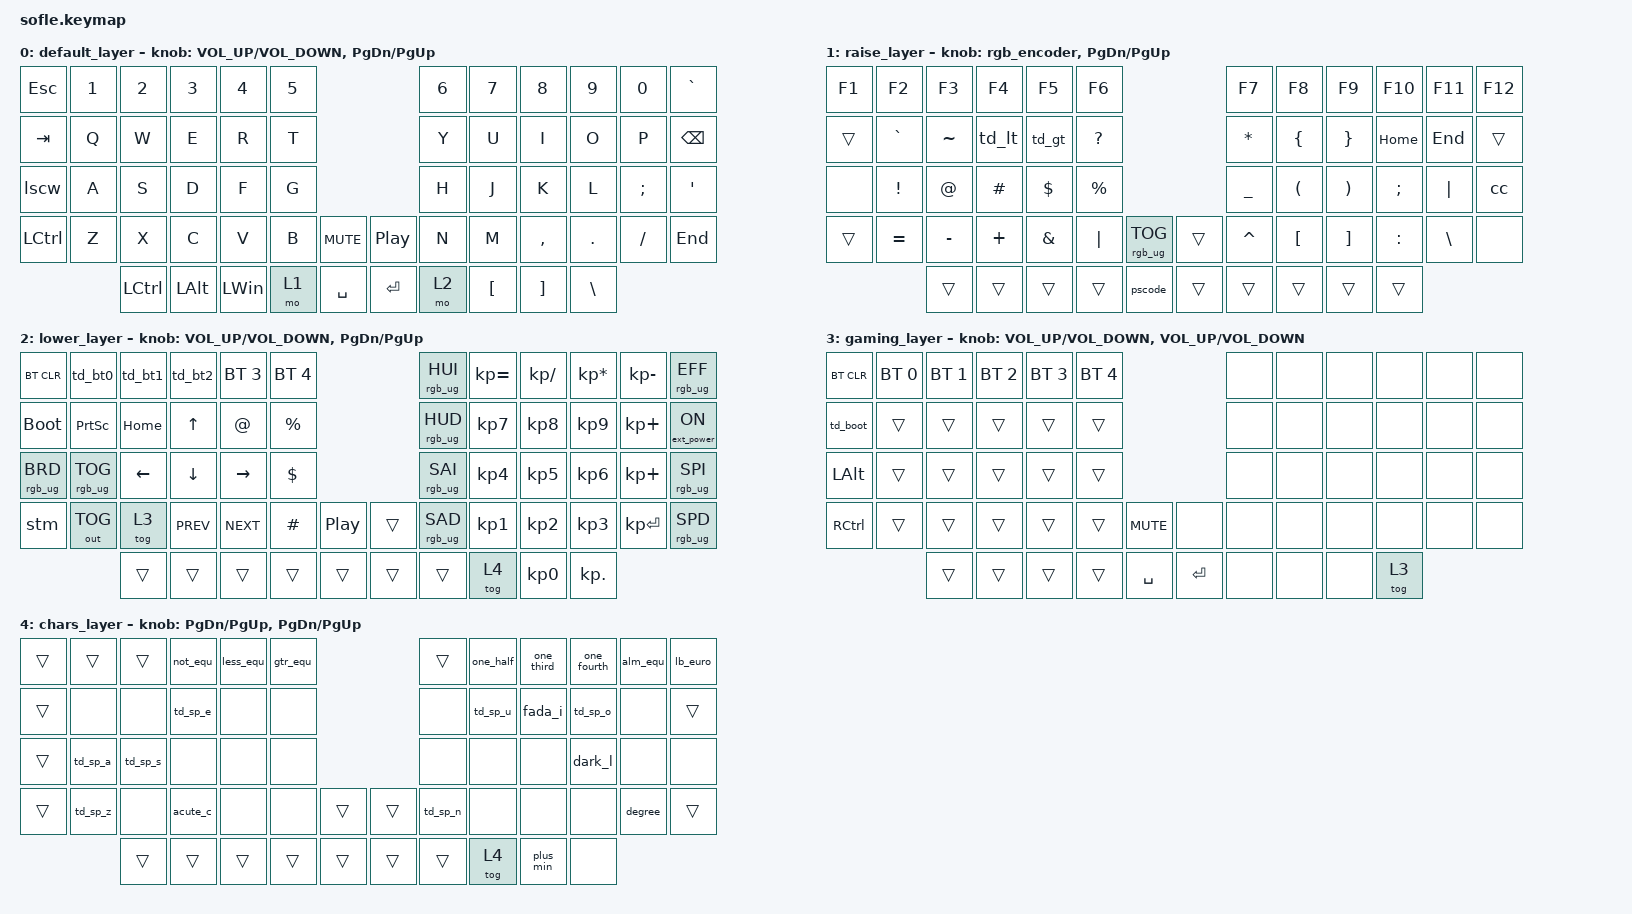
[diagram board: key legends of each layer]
/*
 * Copyright (c) 2020 The ZMK Contributors
 *
 * SPDX-License-Identifier: MIT
 */

#include <behaviors.dtsi>
#include <dt-bindings/zmk/bt.h>
#include <dt-bindings/zmk/keys.h>
#include <dt-bindings/zmk/outputs.h>
#include <dt-bindings/zmk/rgb.h>
#include <dt-bindings/zmk/ext_power.h>

&left_encoder  { resolution = <2>; };
&right_encoder { resolution = <2>; };

/ {
    macros {

        // System

        tm: tm {
            compatible = "zmk,behavior-macro";
            #binding-cells = <0>;
            bindings =
                <&macro_press>,
                <&kp LCTRL &kp LSHFT>,
                <&macro_tap>,
                <&kp ESC>,
                <&macro_release>,
                <&kp LCTRL &kp LSHFT>;
        };

        // Bluetooth profile select + RGB colour feedback

        ubt0: ubt0 {
            compatible = "zmk,behavior-macro";
            #binding-cells = <0>;
            wait-ms = <0>;
            tap-ms = <0>;
            bindings =
                <&macro_tap>,
                <&bt BT_SEL 0>,
                <&macro_tap>,
                <&rgb_ug RGB_COLOR_HSB(240,100,20)>;
        };

        ubt1: ubt1 {
            compatible = "zmk,behavior-macro";
            #binding-cells = <0>;
            wait-ms = <0>;
            tap-ms = <0>;
            bindings =
                <&macro_tap>,
                <&bt BT_SEL 1>,
                <&macro_tap>,
                <&rgb_ug RGB_COLOR_HSB(120,100,20)>;
        };

        ubt2: ubt2 {
            compatible = "zmk,behavior-macro";
            #binding-cells = <0>;
            wait-ms = <0>;
            tap-ms = <0>;
            bindings =
                <&macro_tap>,
                <&bt BT_SEL 2>,
                <&macro_tap>,
                <&rgb_ug RGB_COLOR_HSB(0,100,20)>;
        };

        // Irish fadas (acute accent on vowels) — Windows Alt+numpad codes

        smfada_a: smfada_a {
            compatible = "zmk,behavior-macro";
            #binding-cells = <0>;
            tap-ms = <0>;
            wait-ms = <0>;
            bindings = <&macro_press>, <&kp LALT>,
                       <&macro_tap>, <&kp KP_N0 &kp KP_N2 &kp KP_N2 &kp KP_N5>,
                       <&macro_release>, <&kp LALT>;
        };

        lfada_a: lfada_a {
            compatible = "zmk,behavior-macro";
            #binding-cells = <0>;
            tap-ms = <0>;
            wait-ms = <0>;
            bindings = <&macro_press>, <&kp LALT>,
                       <&macro_tap>, <&kp KP_N0 &kp KP_N1 &kp KP_N9 &kp KP_N3>,
                       <&macro_release>, <&kp LALT>;
        };

        smfada_e: smfada_e {
            compatible = "zmk,behavior-macro";
            #binding-cells = <0>;
            tap-ms = <0>;
            wait-ms = <0>;
            bindings = <&macro_press>, <&kp LALT>,
                       <&macro_tap>, <&kp KP_N0 &kp KP_N2 &kp KP_N3 &kp KP_N3>,
                       <&macro_release>, <&kp LALT>;
        };

        lfada_e: lfada_e {
            compatible = "zmk,behavior-macro";
            #binding-cells = <0>;
            tap-ms = <0>;
            wait-ms = <0>;
            bindings = <&macro_press>, <&kp LALT>,
                       <&macro_tap>, <&kp KP_N0 &kp KP_N2 &kp KP_N0 &kp KP_N1>,
                       <&macro_release>, <&kp LALT>;
        };

        smfada_i: smfada_i {
            compatible = "zmk,behavior-macro";
            #binding-cells = <0>;
            tap-ms = <0>;
            wait-ms = <0>;
            bindings = <&macro_press>, <&kp LALT>,
                       <&macro_tap>, <&kp KP_N0 &kp KP_N2 &kp KP_N3 &kp KP_N7>,
                       <&macro_release>, <&kp LALT>;
        };

        lfada_i: lfada_i {
            compatible = "zmk,behavior-macro";
            #binding-cells = <0>;
            tap-ms = <0>;
            wait-ms = <0>;
            bindings = <&macro_press>, <&kp LALT>,
                       <&macro_tap>, <&kp KP_N0 &kp KP_N2 &kp KP_N0 &kp KP_N5>,
                       <&macro_release>, <&kp LALT>;
        };

        smfada_o: smfada_o {
            compatible = "zmk,behavior-macro";
            #binding-cells = <0>;
            tap-ms = <0>;
            wait-ms = <0>;
            bindings = <&macro_press>, <&kp LALT>,
                       <&macro_tap>, <&kp KP_N0 &kp KP_N2 &kp KP_N4 &kp KP_N3>,
                       <&macro_release>, <&kp LALT>;
        };

        lfada_o: lfada_o {
            compatible = "zmk,behavior-macro";
            #binding-cells = <0>;
            tap-ms = <0>;
            wait-ms = <0>;
            bindings = <&macro_press>, <&kp LALT>,
                       <&macro_tap>, <&kp KP_N0 &kp KP_N2 &kp KP_N1 &kp KP_N1>,
                       <&macro_release>, <&kp LALT>;
        };

        smfada_u: smfada_u {
            compatible = "zmk,behavior-macro";
            #binding-cells = <0>;
            tap-ms = <0>;
            wait-ms = <0>;
            bindings = <&macro_press>, <&kp LALT>,
                       <&macro_tap>, <&kp KP_N0 &kp KP_N2 &kp KP_N5 &kp KP_N0>,
                       <&macro_release>, <&kp LALT>;
        };

        lfada_u: lfada_u {
            compatible = "zmk,behavior-macro";
            #binding-cells = <0>;
            tap-ms = <0>;
            wait-ms = <0>;
            bindings = <&macro_press>, <&kp LALT>,
                       <&macro_tap>, <&kp KP_N0 &kp KP_N2 &kp KP_N1 &kp KP_N8>,
                       <&macro_release>, <&kp LALT>;
        };

        // German umlauts

        smumlaut_a: smumlaut_a {
            compatible = "zmk,behavior-macro";
            #binding-cells = <0>;
            tap-ms = <0>;
            wait-ms = <0>;
            bindings = <&macro_press>, <&kp LALT>,
                       <&macro_tap>, <&kp KP_N0 &kp KP_N2 &kp KP_N2 &kp KP_N8>,
                       <&macro_release>, <&kp LALT>;
        };

        lumlaut_a: lumlaut_a {
            compatible = "zmk,behavior-macro";
            #binding-cells = <0>;
            tap-ms = <0>;
            wait-ms = <0>;
            bindings = <&macro_press>, <&kp LALT>,
                       <&macro_tap>, <&kp KP_N0 &kp KP_N1 &kp KP_N9 &kp KP_N6>,
                       <&macro_release>, <&kp LALT>;
        };

        smumlaut_o: smumlaut_o {
            compatible = "zmk,behavior-macro";
            #binding-cells = <0>;
            tap-ms = <0>;
            wait-ms = <0>;
            bindings = <&macro_press>, <&kp LALT>,
                       <&macro_tap>, <&kp KP_N0 &kp KP_N2 &kp KP_N4 &kp KP_N6>,
                       <&macro_release>, <&kp LALT>;
        };

        lumlaut_o: lumlaut_o {
            compatible = "zmk,behavior-macro";
            #binding-cells = <0>;
            tap-ms = <0>;
            wait-ms = <0>;
            bindings = <&macro_press>, <&kp LALT>,
                       <&macro_tap>, <&kp KP_N0 &kp KP_N2 &kp KP_N1 &kp KP_N4>,
                       <&macro_release>, <&kp LALT>;
        };

        smumlaut_u: smumlaut_u {
            compatible = "zmk,behavior-macro";
            #binding-cells = <0>;
            tap-ms = <0>;
            wait-ms = <0>;
            bindings = <&macro_press>, <&kp LALT>,
                       <&macro_tap>, <&kp KP_N0 &kp KP_N2 &kp KP_N5 &kp KP_N2>,
                       <&macro_release>, <&kp LALT>;
        };

        lumlaut_u: lumlaut_u {
            compatible = "zmk,behavior-macro";
            #binding-cells = <0>;
            tap-ms = <0>;
            wait-ms = <0>;
            bindings = <&macro_press>, <&kp LALT>,
                       <&macro_tap>, <&kp KP_N0 &kp KP_N2 &kp KP_N2 &kp KP_N0>,
                       <&macro_release>, <&kp LALT>;
        };

        essette_s: essette_s {
            compatible = "zmk,behavior-macro";
            #binding-cells = <0>;
            tap-ms = <0>;
            wait-ms = <0>;
            bindings = <&macro_press>, <&kp LALT>,
                       <&macro_tap>, <&kp KP_N0 &kp KP_N2 &kp KP_N2 &kp KP_N3>,
                       <&macro_release>, <&kp LALT>;
        };

        // Polish ogonek — Unicode hex input
        // Requires HKCU\Control Panel\Input Method: EnableHexNumpad=1

        smogo_a: smogo_a {
            compatible = "zmk,behavior-macro";
            #binding-cells = <0>;
            tap-ms = <0>;
            wait-ms = <0>;
            bindings = <&macro_press>, <&kp LALT>,
                       <&macro_tap>, <&kp KP_PLUS &kp KP_N0 &kp KP_N1 &kp KP_N0 &kp KP_N5>,
                       <&macro_release>, <&kp LALT>;
        };

        logo_a: logo_a {
            compatible = "zmk,behavior-macro";
            #binding-cells = <0>;
            tap-ms = <0>;
            wait-ms = <0>;
            bindings = <&macro_press>, <&kp LALT>,
                       <&macro_tap>, <&kp KP_PLUS &kp KP_N0 &kp KP_N1 &kp KP_N0 &kp KP_N4>,
                       <&macro_release>, <&kp LALT>;
        };

        smogo_e: smogo_e {
            compatible = "zmk,behavior-macro";
            #binding-cells = <0>;
            tap-ms = <0>;
            wait-ms = <0>;
            bindings = <&macro_press>, <&kp LALT>,
                       <&macro_tap>, <&kp KP_PLUS &kp KP_N0 &kp KP_N1 &kp KP_N1 &kp KP_N9>,
                       <&macro_release>, <&kp LALT>;
        };

        logo_e: logo_e {
            compatible = "zmk,behavior-macro";
            #binding-cells = <0>;
            tap-ms = <0>;
            wait-ms = <0>;
            bindings = <&macro_press>, <&kp LALT>,
                       <&macro_tap>, <&kp KP_PLUS &kp KP_N0 &kp KP_N1 &kp KP_N1 &kp KP_N8>,
                       <&macro_release>, <&kp LALT>;
        };

        smacute_n: smacute_n {
            compatible = "zmk,behavior-macro";
            #binding-cells = <0>;
            tap-ms = <0>;
            wait-ms = <0>;
            bindings = <&macro_press>, <&kp LALT>,
                       <&macro_tap>, <&kp KP_PLUS &kp KP_N0 &kp KP_N1 &kp KP_N4 &kp KP_N4>,
                       <&macro_release>, <&kp LALT>;
        };

        lacute_n: lacute_n {
            compatible = "zmk,behavior-macro";
            #binding-cells = <0>;
            tap-ms = <0>;
            wait-ms = <0>;
            bindings = <&macro_press>, <&kp LALT>,
                       <&macro_tap>, <&kp KP_PLUS &kp KP_N0 &kp KP_N1 &kp KP_N4 &kp KP_N3>,
                       <&macro_release>, <&kp LALT>;
        };

        smtil_n: smtil_n {
            compatible = "zmk,behavior-macro";
            #binding-cells = <0>;
            tap-ms = <0>;
            wait-ms = <0>;
            bindings = <&macro_press>, <&kp LALT>,
                       <&macro_tap>, <&kp KP_N0 &kp KP_N2 &kp KP_N4 &kp KP_N1>,
                       <&macro_release>, <&kp LALT>;
        };

        ltil_n: ltil_n {
            compatible = "zmk,behavior-macro";
            #binding-cells = <0>;
            tap-ms = <0>;
            wait-ms = <0>;
            bindings = <&macro_press>, <&kp LALT>,
                       <&macro_tap>, <&kp KP_N0 &kp KP_N2 &kp KP_N0 &kp KP_N9>,
                       <&macro_release>, <&kp LALT>;
        };

        smacute_s: smacute_s {
            compatible = "zmk,behavior-macro";
            #binding-cells = <0>;
            tap-ms = <0>;
            wait-ms = <0>;
            bindings = <&macro_press>, <&kp LALT>,
                       <&macro_tap>, <&kp KP_PLUS &kp KP_N0 &kp KP_N1 &kp KP_N5 &kp B>,
                       <&macro_release>, <&kp LALT>;
        };

        lacute_s: lacute_s {
            compatible = "zmk,behavior-macro";
            #binding-cells = <0>;
            tap-ms = <0>;
            wait-ms = <0>;
            bindings = <&macro_press>, <&kp LALT>,
                       <&macro_tap>, <&kp KP_PLUS &kp KP_N0 &kp KP_N1 &kp KP_N5 &kp A>,
                       <&macro_release>, <&kp LALT>;
        };

        smacute_z: smacute_z {
            compatible = "zmk,behavior-macro";
            #binding-cells = <0>;
            tap-ms = <0>;
            wait-ms = <0>;
            bindings = <&macro_press>, <&kp LALT>,
                       <&macro_tap>, <&kp KP_PLUS &kp KP_N0 &kp KP_N1 &kp KP_N7 &kp A>,
                       <&macro_release>, <&kp LALT>;
        };

        lacute_z: lacute_z {
            compatible = "zmk,behavior-macro";
            #binding-cells = <0>;
            tap-ms = <0>;
            wait-ms = <0>;
            bindings = <&macro_press>, <&kp LALT>,
                       <&macro_tap>, <&kp KP_PLUS &kp KP_N0 &kp KP_N1 &kp KP_N7 &kp KP_N9>,
                       <&macro_release>, <&kp LALT>;
        };

        smdot_z: smdot_z {
            compatible = "zmk,behavior-macro";
            #binding-cells = <0>;
            tap-ms = <0>;
            wait-ms = <0>;
            bindings = <&macro_press>, <&kp LALT>,
                       <&macro_tap>, <&kp KP_PLUS &kp KP_N0 &kp KP_N1 &kp KP_N7 &kp C>,
                       <&macro_release>, <&kp LALT>;
        };

        ldot_z: ldot_z {
            compatible = "zmk,behavior-macro";
            #binding-cells = <0>;
            tap-ms = <0>;
            wait-ms = <0>;
            bindings = <&macro_press>, <&kp LALT>,
                       <&macro_tap>, <&kp KP_PLUS &kp KP_N0 &kp KP_N1 &kp KP_N7 &kp B>,
                       <&macro_release>, <&kp LALT>;
        };

        smacute_c: smacute_c {
            compatible = "zmk,behavior-macro";
            #binding-cells = <0>;
            tap-ms = <0>;
            wait-ms = <0>;
            bindings = <&macro_press>, <&kp LALT>,
                       <&macro_tap>, <&kp KP_PLUS &kp KP_N0 &kp KP_N1 &kp KP_N0 &kp KP_N7>,
                       <&macro_release>, <&kp LALT>;
        };

        lacute_c: lacute_c {
            compatible = "zmk,behavior-macro";
            #binding-cells = <0>;
            tap-ms = <0>;
            wait-ms = <0>;
            bindings = <&macro_press>, <&kp LALT>,
                       <&macro_tap>, <&kp KP_PLUS &kp KP_N0 &kp KP_N1 &kp KP_N0 &kp KP_N6>,
                       <&macro_release>, <&kp LALT>;
        };

        smdark_l: smdark_l {
            compatible = "zmk,behavior-macro";
            #binding-cells = <0>;
            tap-ms = <0>;
            wait-ms = <0>;
            bindings = <&macro_press>, <&kp LALT>,
                       <&macro_tap>, <&kp KP_PLUS &kp KP_N0 &kp KP_N1 &kp KP_N4 &kp KP_N2>,
                       <&macro_release>, <&kp LALT>;
        };

        ldark_l: ldark_l {
            compatible = "zmk,behavior-macro";
            #binding-cells = <0>;
            tap-ms = <0>;
            wait-ms = <0>;
            bindings = <&macro_press>, <&kp LALT>,
                       <&macro_tap>, <&kp KP_PLUS &kp KP_N0 &kp KP_N1 &kp KP_N4 &kp KP_N1>,
                       <&macro_release>, <&kp LALT>;
        };

        // Guillemets

        dbl_left: dbl_left {
            compatible = "zmk,behavior-macro";
            #binding-cells = <0>;
            tap-ms = <0>;
            wait-ms = <0>;
            bindings = <&macro_press>, <&kp LALT>,
                       <&macro_tap>, <&kp KP_PLUS &kp KP_N0 &kp KP_N0 &kp A &kp B>,
                       <&macro_release>, <&kp LALT>;
        };

        dbl_right: dbl_right {
            compatible = "zmk,behavior-macro";
            #binding-cells = <0>;
            tap-ms = <0>;
            wait-ms = <0>;
            bindings = <&macro_press>, <&kp LALT>,
                       <&macro_tap>, <&kp KP_PLUS &kp KP_N0 &kp KP_N0 &kp B &kp B>,
                       <&macro_release>, <&kp LALT>;
        };

        // Currency (£ normally, € on shift via lb_euro mod-morph)

        uk_pnd: uk_pnd {
            compatible = "zmk,behavior-macro";
            #binding-cells = <0>;
            tap-ms = <0>;
            wait-ms = <0>;
            bindings = <&macro_press>, <&kp LALT>,
                       <&macro_tap>, <&kp KP_PLUS &kp KP_N0 &kp KP_N0 &kp A &kp KP_N3>,
                       <&macro_release>, <&kp LALT>;
        };

        euro: euro {
            compatible = "zmk,behavior-macro";
            #binding-cells = <0>;
            tap-ms = <0>;
            wait-ms = <0>;
            bindings = <&macro_press>, <&kp LALT>,
                       <&macro_tap>, <&kp KP_PLUS &kp KP_N2 &kp KP_N0 &kp A &kp C>,
                       <&macro_release>, <&kp LALT>;
        };

        // Symbols

        degree: degree {
            compatible = "zmk,behavior-macro";
            #binding-cells = <0>;
            tap-ms = <0>;
            wait-ms = <0>;
            bindings = <&macro_press>, <&kp LALT>,
                       <&macro_tap>, <&kp KP_PLUS &kp KP_N0 &kp KP_N0 &kp B &kp KP_N0>,
                       <&macro_release>, <&kp LALT>;
        };

        plus_min: plus_min {
            compatible = "zmk,behavior-macro";
            #binding-cells = <0>;
            tap-ms = <0>;
            wait-ms = <0>;
            bindings = <&macro_press>, <&kp LALT>,
                       <&macro_tap>, <&kp KP_PLUS &kp KP_N0 &kp KP_N0 &kp B &kp KP_N1>,
                       <&macro_release>, <&kp LALT>;
        };

        // Common fractions

        one_half: one_half {
            compatible = "zmk,behavior-macro";
            #binding-cells = <0>;
            tap-ms = <0>;
            wait-ms = <0>;
            bindings = <&macro_press>, <&kp LALT>,
                       <&macro_tap>, <&kp KP_PLUS &kp KP_N0 &kp KP_N0 &kp B &kp D>,
                       <&macro_release>, <&kp LALT>;
        };

        one_third: one_third {
            compatible = "zmk,behavior-macro";
            #binding-cells = <0>;
            tap-ms = <0>;
            wait-ms = <0>;
            bindings = <&macro_press>, <&kp LALT>,
                       <&macro_tap>, <&kp KP_PLUS &kp KP_N2 &kp KP_N1 &kp KP_N5 &kp KP_N3>,
                       <&macro_release>, <&kp LALT>;
        };

        one_fourth: one_fourth {
            compatible = "zmk,behavior-macro";
            #binding-cells = <0>;
            tap-ms = <0>;
            wait-ms = <0>;
            bindings = <&macro_press>, <&kp LALT>,
                       <&macro_tap>, <&kp KP_PLUS &kp KP_N0 &kp KP_N0 &kp B &kp C>,
                       <&macro_release>, <&kp LALT>;
        };

        // Math operators

        less_equ: less_equ {
            compatible = "zmk,behavior-macro";
            #binding-cells = <0>;
            tap-ms = <0>;
            wait-ms = <0>;
            bindings = <&macro_press>, <&kp LALT>,
                       <&macro_tap>, <&kp KP_PLUS &kp KP_N2 &kp KP_N2 &kp KP_N6 &kp KP_N4>,
                       <&macro_release>, <&kp LALT>;
        };

        gtr_equ: gtr_equ {
            compatible = "zmk,behavior-macro";
            #binding-cells = <0>;
            tap-ms = <0>;
            wait-ms = <0>;
            bindings = <&macro_press>, <&kp LALT>,
                       <&macro_tap>, <&kp KP_PLUS &kp KP_N2 &kp KP_N2 &kp KP_N6 &kp KP_N5>,
                       <&macro_release>, <&kp LALT>;
        };

        not_equ: not_equ {
            compatible = "zmk,behavior-macro";
            #binding-cells = <0>;
            tap-ms = <0>;
            wait-ms = <0>;
            bindings = <&macro_press>, <&kp LALT>,
                       <&macro_tap>, <&kp KP_PLUS &kp KP_N2 &kp KP_N2 &kp KP_N6 &kp KP_N0>,
                       <&macro_release>, <&kp LALT>;
        };

        alm_equ: alm_equ {
            compatible = "zmk,behavior-macro";
            #binding-cells = <0>;
            tap-ms = <0>;
            wait-ms = <0>;
            bindings = <&macro_press>, <&kp LALT>,
                       <&macro_tap>, <&kp KP_PLUS &kp KP_N2 &kp KP_N2 &kp KP_N4 &kp KP_N8>,
                       <&macro_release>, <&kp LALT>;
        };
    };
};

/ {
    behaviors {

        // RGB encoder mod-morphs: encoder = hue, Shift/Ctrl = sat/bri, Alt = bri/sat

        rgb_bri_sat_inc: rgb_bri_sat_inc {
            compatible = "zmk,behavior-mod-morph";
            #binding-cells = <0>;
            bindings = <&rgb_ug RGB_SAI>, <&rgb_ug RGB_BRI>;
            mods = <(MOD_LALT|MOD_RALT)>;
        };

        rgb_bri_sat_dec: rgb_bri_sat_dec {
            compatible = "zmk,behavior-mod-morph";
            #binding-cells = <0>;
            bindings = <&rgb_ug RGB_SAD>, <&rgb_ug RGB_BRD>;
            mods = <(MOD_LALT|MOD_RALT)>;
        };

        rgb_inc: rgb_inc {
            compatible = "zmk,behavior-mod-morph";
            #binding-cells = <0>;
            bindings = <&rgb_ug RGB_HUI>, <&rgb_bri_sat_inc>;
            mods = <(MOD_LSFT|MOD_RSFT|MOD_LCTL|MOD_RCTL)>;
        };

        rgb_dec: rgb_dec {
            compatible = "zmk,behavior-mod-morph";
            #binding-cells = <0>;
            bindings = <&rgb_ug RGB_HUD>, <&rgb_bri_sat_dec>;
            mods = <(MOD_LSFT|MOD_RSFT)>;
        };

        // Special character mod-morphs: unshifted = lowercase, shifted = uppercase

        fada_a: fada_a {
            compatible = "zmk,behavior-mod-morph";
            #binding-cells = <0>;
            bindings = <&smfada_a>, <&lfada_a>;
            mods = <(MOD_LSFT|MOD_RSFT)>;
        };

        ogonek_a: ogonek_a {
            compatible = "zmk,behavior-mod-morph";
            #binding-cells = <0>;
            bindings = <&smogo_a>, <&logo_a>;
            mods = <(MOD_LSFT|MOD_RSFT)>;
        };

        umlaut_a: umlaut_a {
            compatible = "zmk,behavior-mod-morph";
            #binding-cells = <0>;
            bindings = <&smumlaut_a>, <&lumlaut_a>;
            mods = <(MOD_LSFT|MOD_RSFT)>;
        };

        fada_e: fada_e {
            compatible = "zmk,behavior-mod-morph";
            #binding-cells = <0>;
            bindings = <&smfada_e>, <&lfada_e>;
            mods = <(MOD_LSFT|MOD_RSFT)>;
        };

        ogonek_e: ogonek_e {
            compatible = "zmk,behavior-mod-morph";
            #binding-cells = <0>;
            bindings = <&smogo_e>, <&logo_e>;
            mods = <(MOD_LSFT|MOD_RSFT)>;
        };

        fada_i: fada_i {
            compatible = "zmk,behavior-mod-morph";
            #binding-cells = <0>;
            bindings = <&smfada_i>, <&lfada_i>;
            mods = <(MOD_LSFT|MOD_RSFT)>;
        };

        fada_o: fada_o {
            compatible = "zmk,behavior-mod-morph";
            #binding-cells = <0>;
            bindings = <&smfada_o>, <&lfada_o>;
            mods = <(MOD_LSFT|MOD_RSFT)>;
        };

        umlaut_o: umlaut_o {
            compatible = "zmk,behavior-mod-morph";
            #binding-cells = <0>;
            bindings = <&smumlaut_o>, <&lumlaut_o>;
            mods = <(MOD_LSFT|MOD_RSFT)>;
        };

        fada_u: fada_u {
            compatible = "zmk,behavior-mod-morph";
            #binding-cells = <0>;
            bindings = <&smfada_u>, <&lfada_u>;
            mods = <(MOD_LSFT|MOD_RSFT)>;
        };

        umlaut_u: umlaut_u {
            compatible = "zmk,behavior-mod-morph";
            #binding-cells = <0>;
            bindings = <&smumlaut_u>, <&lumlaut_u>;
            mods = <(MOD_LSFT|MOD_RSFT)>;
        };

        acute_n: acute_n {
            compatible = "zmk,behavior-mod-morph";
            #binding-cells = <0>;
            bindings = <&smacute_n>, <&lacute_n>;
            mods = <(MOD_LSFT|MOD_RSFT)>;
        };

        tilde_n: tilde_n {
            compatible = "zmk,behavior-mod-morph";
            #binding-cells = <0>;
            bindings = <&smtil_n>, <&ltil_n>;
            mods = <(MOD_LSFT|MOD_RSFT)>;
        };

        acute_s: acute_s {
            compatible = "zmk,behavior-mod-morph";
            #binding-cells = <0>;
            bindings = <&smacute_s>, <&lacute_s>;
            mods = <(MOD_LSFT|MOD_RSFT)>;
        };

        acute_z: acute_z {
            compatible = "zmk,behavior-mod-morph";
            #binding-cells = <0>;
            bindings = <&smacute_z>, <&lacute_z>;
            mods = <(MOD_LSFT|MOD_RSFT)>;
        };

        dot_z: dot_z {
            compatible = "zmk,behavior-mod-morph";
            #binding-cells = <0>;
            bindings = <&smdot_z>, <&ldot_z>;
            mods = <(MOD_LSFT|MOD_RSFT)>;
        };

        acute_c: acute_c {
            compatible = "zmk,behavior-mod-morph";
            #binding-cells = <0>;
            bindings = <&smacute_c>, <&lacute_c>;
            mods = <(MOD_LSFT|MOD_RSFT)>;
        };

        dark_l: dark_l {
            compatible = "zmk,behavior-mod-morph";
            #binding-cells = <0>;
            bindings = <&smdark_l>, <&ldark_l>;
            mods = <(MOD_LSFT|MOD_RSFT)>;
        };

        lb_euro: lb_euro {
            compatible = "zmk,behavior-mod-morph";
            #binding-cells = <0>;
            bindings = <&uk_pnd>, <&euro>;
            mods = <(MOD_LSFT|MOD_RSFT)>;
        };

        // Encoder sensor rotate behavior

        rgb_encoder: rgb_encoder {
            compatible = "zmk,behavior-sensor-rotate";
            #sensor-binding-cells = <0>;
            bindings = <&rgb_inc>, <&rgb_dec>;
        };

        // Tap-dances

        cc: cc {
            compatible = "zmk,behavior-tap-dance";
            #binding-cells = <0>;
            tapping-term-ms = <200>;
            bindings =
                <&rgb_ug RGB_COLOR_HSB(0,100,20)>,
                <&rgb_ug RGB_COLOR_HSB(10,100,20)>,
                <&rgb_ug RGB_COLOR_HSB(35,100,20)>,
                <&rgb_ug RGB_COLOR_HSB(120,100,20)>,
                <&rgb_ug RGB_COLOR_HSB(240,100,20)>,
                <&rgb_ug RGB_COLOR_HSB(285,100,20)>;
        };

        // BT select (1 tap) + select-and-set-RGB-colour (2 taps)

        td_bt0: td_bt0 {
            compatible = "zmk,behavior-tap-dance";
            #binding-cells = <0>;
            tapping-term-ms = <200>;
            bindings = <&bt BT_SEL 0>, <&ubt0>;
        };

        td_bt1: td_bt1 {
            compatible = "zmk,behavior-tap-dance";
            #binding-cells = <0>;
            tapping-term-ms = <200>;
            bindings = <&bt BT_SEL 1>, <&ubt1>;
        };

        td_bt2: td_bt2 {
            compatible = "zmk,behavior-tap-dance";
            #binding-cells = <0>;
            tapping-term-ms = <200>;
            bindings = <&bt BT_SEL 2>, <&ubt2>;
        };

        // Shift (1 tap) / Caps Word (2 taps)

        lscw: lscw {
            compatible = "zmk,behavior-tap-dance";
            #binding-cells = <0>;
            tapping-term-ms = <200>;
            bindings = <&kp LSHFT>, <&caps_word>;
        };

        // Shift (1 tap) / Task Manager (2 taps)

        stm: stm {
            compatible = "zmk,behavior-tap-dance";
            #binding-cells = <0>;
            tapping-term-ms = <200>;
            bindings = <&kp LSHFT>, <&tm>;
        };

        // F5 (1 tap) / F8 (2 taps) — PowerShell run/debug

        pscode: pscode {
            compatible = "zmk,behavior-tap-dance";
            #binding-cells = <0>;
            tapping-term-ms = <200>;
            bindings = <&kp F5>, <&kp F8>;
        };

        // Bootloader guard: nothing on 1 tap, bootloader on 2 taps

        td_boot: td_boot {
            compatible = "zmk,behavior-tap-dance";
            #binding-cells = <0>;
            tapping-term-ms = <200>;
            bindings = <&none>, <&bootloader>;
        };

        // Special characters: tap cycles through variants, shift = uppercase

        td_sp_a: td_sp_a {
            compatible = "zmk,behavior-tap-dance";
            #binding-cells = <0>;
            tapping-term-ms = <250>;
            bindings = <&fada_a>, <&ogonek_a>, <&umlaut_a>;
        };

        td_sp_e: td_sp_e {
            compatible = "zmk,behavior-tap-dance";
            #binding-cells = <0>;
            tapping-term-ms = <250>;
            bindings = <&fada_e>, <&ogonek_e>;
        };

        td_sp_o: td_sp_o {
            compatible = "zmk,behavior-tap-dance";
            #binding-cells = <0>;
            tapping-term-ms = <250>;
            bindings = <&fada_o>, <&umlaut_o>;
        };

        td_sp_u: td_sp_u {
            compatible = "zmk,behavior-tap-dance";
            #binding-cells = <0>;
            tapping-term-ms = <250>;
            bindings = <&fada_u>, <&umlaut_u>;
        };

        td_sp_n: td_sp_n {
            compatible = "zmk,behavior-tap-dance";
            #binding-cells = <0>;
            tapping-term-ms = <250>;
            bindings = <&acute_n>, <&tilde_n>;
        };

        td_sp_s: td_sp_s {
            compatible = "zmk,behavior-tap-dance";
            #binding-cells = <0>;
            tapping-term-ms = <200>;
            bindings = <&acute_s>, <&essette_s>;
        };

        td_sp_z: td_sp_z {
            compatible = "zmk,behavior-tap-dance";
            #binding-cells = <0>;
            tapping-term-ms = <200>;
            bindings = <&acute_z>, <&dot_z>;
        };

        // < with guillemet on double-tap, > with guillemet on double-tap

        td_lt: td_lt {
            compatible = "zmk,behavior-tap-dance";
            #binding-cells = <0>;
            tapping-term-ms = <200>;
            bindings = <&kp LT>, <&dbl_left>;
        };

        td_gt: td_gt {
            compatible = "zmk,behavior-tap-dance";
            #binding-cells = <0>;
            tapping-term-ms = <200>;
            bindings = <&kp GT>, <&dbl_right>;
        };
    };

    keymap {
        compatible = "zmk,keymap";

        default_layer {
            // ┌────────┬───┬───┬───┬───┬───┐                ┌───┬───┬───┬───┬───┬──────┐
            // │ ESC    │ 1 │ 2 │ 3 │ 4 │ 5 │                │ 6 │ 7 │ 8 │ 9 │ 0 │  ~   │
            // ├────────┼───┼───┼───┼───┼───┤                ├───┼───┼───┼───┼───┼──────┤
            // │ TAB    │ Q │ W │ E │ R │ T │                │ Y │ U │ I │ O │ P │ BKSP │
            // ├────────┼───┼───┼───┼───┼───┤                ├───┼───┼───┼───┼───┼──────┤
            // │ SHF/CW │ A │ S │ D │ F │ G │                │ H │ J │ K │ L │ ; │  '   │
            // ├────────┼───┼───┼───┼───┼───┼──────┐┌───────┼───┼───┼───┼───┼───┼──────┤
            // │ CTRL   │ Z │ X │ C │ V │ B │ MUTE ││ PLAY  │ N │ M │ , │ . │ / │ END  │
            // └────────┴───┴───┴───┴───┴───┴──────┘└───────┴───┴───┴───┴───┴───┴──────┘
            //               ┌─────┬─────┬─────┬─────┬───────┐┌───────┬─────┬───┬───┬───┐
            //               │CTRL │ ALT │ WIN │ MO1 │ SPACE ││ ENTER │ MO2 │ [ │ ] │ \ │
            //               └─────┴─────┴─────┴─────┴───────┘└───────┴─────┴───┴───┴───┘
            bindings = <
&kp ESC    &kp N1  &kp N2     &kp N3        &kp N4        &kp N5                                &kp N6  &kp N7            &kp N8             &kp N9         &kp N0    &kp GRAVE
&kp TAB    &kp Q   &kp W      &kp E         &kp R         &kp T                                 &kp Y   &kp U             &kp I              &kp O          &kp P     &kp BACKSPACE
&lscw      &kp A   &kp S      &kp D         &kp F         &kp G                                 &kp H   &kp J             &kp K              &kp L          &kp SEMI  &kp SQT
&kp LCTRL  &kp Z   &kp X      &kp C         &kp V         &kp B   &kp C_MUTE  &kp C_PLAY_PAUSE  &kp N   &kp M             &kp COMMA          &kp DOT        &kp FSLH  &kp END
                   &kp LCTRL  &kp LEFT_ALT  &kp LEFT_WIN  &mo 1   &kp SPACE   &kp ENTER         &mo 2   &kp LEFT_BRACKET  &kp RIGHT_BRACKET  &kp BACKSLASH
            >;

            sensor-bindings =
                <&inc_dec_kp C_VOL_UP C_VOLUME_DOWN>,
                <&inc_dec_kp PAGE_DOWN PAGE_UP>;
        };

        raise_layer {
            // ┌────┬────┬────┬────┬────┬──────┐               ┌────┬────┬────┬──────┬──────┬────┐
            // │ F1 │ F2 │ F3 │ F4 │ F5 │  F6  │               │ F7 │ F8 │ F9 │ F10  │ F11  │F12 │
            // ├────┼────┼────┼────┼────┼──────┤               ├────┼────┼────┼──────┼──────┼────┤
            // │    │  ` │  ~ │ </«│ >/»│  ?   │               │  * │  { │  } │ HOME │ END  │    │
            // ├────┼────┼────┼────┼────┼──────┤               ├────┼────┼────┼──────┼──────┼────┤
            // │    │  ! │  @ │  # │  $ │  %   │               │  _ │  ( │  ) │  ;   │  |   │ CC │
            // ├────┼────┼────┼────┼────┼──────┼──────┐┌───────┼────┼────┼────┼──────┼──────┼────┤
            // │    │  = │  - │  + │  & │  |   │RGB_T ││       │  ^ │  [ │  ] │  :   │  \   │    │
            // └────┴────┴────┴────┴────┴──────┴──────┘└───────┴────┴────┴────┴──────┴──────┴────┘
            //          ┌──────┬──────┬──────┬──────┬────────┐┌──────┬──────┬──────┬──────┬──────┐
            //          │      │      │      │      │  CODE  ││      │      │      │      │      │
            //          └──────┴──────┴──────┴──────┴────────┘└──────┴──────┴──────┴──────┴──────┘
            bindings = <
&kp F1  &kp F2     &kp F3     &kp F4    &kp F5    &kp F6                              &kp F7     &kp F8    &kp F9    &kp F10    &kp F11        &kp F12
&trans  &kp GRAVE  &kp TILDE  &td_lt    &td_gt    &kp QMARK                           &kp ASTRK  &kp LBRC  &kp RBRC  &kp HOME   &kp END        &trans
&none   &kp EXCL   &kp AT     &kp HASH  &kp DLLR  &kp PRCNT                           &kp UNDER  &kp LPAR  &kp RPAR  &kp SEMI   &kp PIPE       &cc
&trans  &kp EQUAL  &kp MINUS  &kp PLUS  &kp AMPS  &kp PIPE   &rgb_ug RGB_TOG  &trans  &kp CARET  &kp LBKT  &kp RBKT  &kp COLON  &kp BACKSLASH  &none
                   &trans     &trans    &trans    &trans     &pscode          &trans  &trans     &trans    &trans    &trans
            >;

            sensor-bindings = <&rgb_encoder>, <&inc_dec_kp PAGE_DOWN PAGE_UP>;
        };

        lower_layer {
            // ┌───────┬──────┬──────┬──────┬──────┬──────┐             ┌───────┬──────┬──────┬──────┬──────┬───────┐
            // │BT_CLR │ BT0  │ BT1  │ BT2  │ BT3  │ BT4  │             │ HUE+  │  =   │  /   │  *   │  -   │ EFF+  │
            // ├───────┼──────┼──────┼──────┼──────┼──────┤             ├───────┼──────┼──────┼──────┼──────┼───────┤
            // │ BOOT  │ PSCR │ HOME │  ↑   │  @   │  %   │             │ HUE-  │  7   │  8   │  9   │  +   │ EP_ON │
            // ├───────┼──────┼──────┼──────┼──────┼──────┤             ├───────┼──────┼──────┼──────┼──────┼───────┤
            // │ BRI-  │ RGB  │  ←   │  ↓   │  →   │  $   │             │ SAT+  │  4   │  5   │  6   │  +   │ SPD+  │
            // ├───────┼──────┼──────┼──────┼──────┼──────┼──────┐┌─────┼───────┼──────┼──────┼──────┼──────┼───────┤
            // │ STM   │ OUT  │ GAM  │ PREV │ NEXT │  #   │ PLAY ││     │ SAT-  │  1   │  2   │  3   │ ENT  │ SPD-  │
            // └───────┴──────┴──────┴──────┴──────┴──────┴──────┘└─────┴───────┴──────┴──────┴──────┴──────┴───────┘
            //                ┌──────┬──────┬──────┬──────┬──────┐┌─────┬───────┬──────┬──────┬──────┐
            //                │      │      │      │      │      ││     │       │ CHR  │  0   │  .   │
            //                └──────┴──────┴──────┴──────┴──────┘└─────┴───────┴──────┴──────┴──────┘
            bindings = <
&bt BT_CLR       &td_bt0          &td_bt1    &td_bt2    &bt BT_SEL 3  &bt BT_SEL 4                            &rgb_ug RGB_HUI  &kp KP_EQUAL  &kp KP_DIVIDE  &kp KP_MULTIPLY  &kp KP_MINUS  &rgb_ug RGB_EFF
&bootloader      &kp PSCRN        &kp HOME   &kp UP     &kp AT        &kp PRCNT                               &rgb_ug RGB_HUD  &kp KP_N7     &kp KP_N8      &kp KP_N9        &kp KP_PLUS   &ext_power EP_ON
&rgb_ug RGB_BRD  &rgb_ug RGB_TOG  &kp LEFT   &kp DOWN   &kp RIGHT     &kp DLLR                                &rgb_ug RGB_SAI  &kp KP_N4     &kp KP_N5      &kp KP_N6        &kp KP_PLUS   &rgb_ug RGB_SPI
&stm             &out OUT_TOG     &tog 3     &kp C_PREV &kp C_NEXT    &kp HASH      &kp C_PLAY_PAUSE  &trans  &rgb_ug RGB_SAD  &kp KP_N1     &kp KP_N2      &kp KP_N3        &kp KP_ENTER  &rgb_ug RGB_SPD
                                  &trans     &trans     &trans        &trans        &trans            &trans  &trans           &tog 4        &kp KP_N0      &kp KP_DOT
            >;

            sensor-bindings =
                <&inc_dec_kp C_VOL_UP C_VOLUME_DOWN>,
                <&inc_dec_kp PAGE_DOWN PAGE_UP>;
        };

        gaming_layer {
            // QWERTY base passes through, so only modifier overrides are needed.
            // Shift → Left Alt (common game modifier), Tab → bootloader guard.
            bindings = <
&bt BT_CLR         &bt BT_SEL 0  &bt BT_SEL 1  &bt BT_SEL 2  &bt BT_SEL 3  &bt BT_SEL 4                       &none  &none  &none  &none  &none  &none
&td_boot           &trans        &trans        &trans        &trans        &trans                             &none  &none  &none  &none  &none  &none
&kp LEFT_ALT       &trans        &trans        &trans        &trans        &trans                             &none  &none  &none  &none  &none  &none
&kp RIGHT_CONTROL  &trans        &trans        &trans        &trans        &trans        &kp C_MUTE  &none    &none  &none  &none  &none  &none  &none
                                 &trans        &trans        &trans        &trans        &kp SPACE   &kp RET  &none  &none  &none  &tog 3
            >;

            sensor-bindings =
                <&inc_dec_kp C_VOL_UP C_VOLUME_DOWN>,
                <&inc_dec_kp C_VOL_UP C_VOLUME_DOWN>;
        };

        chars_layer {
            // ┌──────┬──────┬──────┬──────┬──────┬──────┐             ┌──────┬──────┬──────┬──────┬──────┬──────┐
            // │      │      │      │  ≠   │  ≤   │  ≥   │             │      │  ½   │  ⅓   │  ¼   │  ≈   │  £/€ │
            // ├──────┼──────┼──────┼──────┼──────┼──────┤             ├──────┼──────┼──────┼──────┼──────┼──────┤
            // │      │      │      │ é/ę  │      │      │             │      │ ú/ü  │  í   │ ó/ö  │      │      │
            // ├──────┼──────┼──────┼──────┼──────┼──────┤             ├──────┼──────┼──────┼──────┼──────┼──────┤
            // │      │á/ą/ä│ ś/ß  │      │      │      │             │      │      │      │  ł   │      │      │
            // ├──────┼──────┼──────┼──────┼──────┼──────┼──────┐┌─────┼──────┼──────┼──────┼──────┼──────┼──────┤
            // │      │ ź/ż  │      │  ć   │      │      │      ││ ń/ñ │      │      │      │      │  °   │      │
            // └──────┴──────┴──────┴──────┴──────┴──────┴──────┘└─────┴──────┴──────┴──────┴──────┴──────┴──────┘
            //                ┌──────┬──────┬──────┬──────┬──────┐┌─────┬──────┬──────┬──────┬──────┐
            //                │      │      │      │      │      ││     │      │ CHR  │  ±   │      │
            //                └──────┴──────┴──────┴──────┴──────┘└─────┴──────┴──────┴──────┴──────┘
            bindings = <
&trans  &trans    &trans    &not_equ  &less_equ  &gtr_equ                  &trans    &one_half  &one_third  &one_fourth  &alm_equ  &lb_euro
&trans  &none     &none     &td_sp_e  &none      &none                     &none     &td_sp_u   &fada_i     &td_sp_o     &none     &trans
&trans  &td_sp_a  &td_sp_s  &none     &none      &none                     &none     &none      &none       &dark_l      &none     &none
&trans  &td_sp_z  &none     &acute_c  &none      &none   &trans   &trans   &td_sp_n  &none      &none       &none        &degree   &trans
                  &trans    &trans    &trans     &trans  &trans   &trans   &trans    &tog 4     &plus_min   &none
            >;

            sensor-bindings =
                <&inc_dec_kp PAGE_DOWN PAGE_UP>,
                <&inc_dec_kp PAGE_DOWN PAGE_UP>;
        };
    };
};
